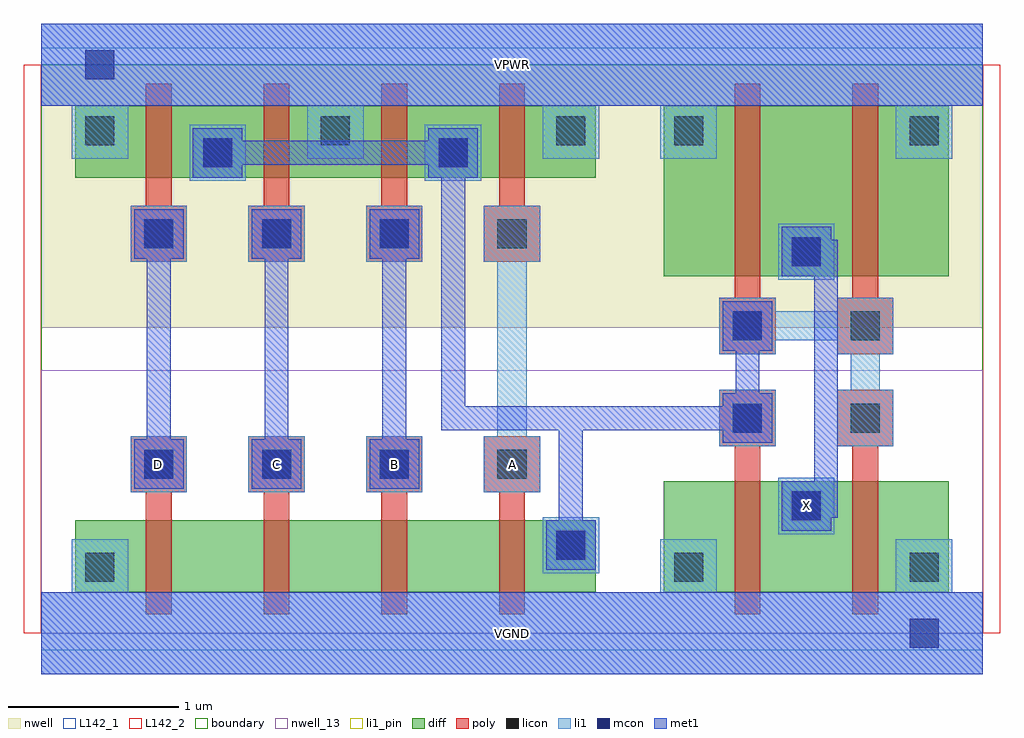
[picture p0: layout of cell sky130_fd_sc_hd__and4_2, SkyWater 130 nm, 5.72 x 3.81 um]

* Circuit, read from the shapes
.subckt sky130_fd_sc_hd__and4_2 A B C D VGND VPWR X
XM1 n1 D VGND VSUBS sky130_fd_pr__nfet_01v8 w=0.42 l=0.15
XM2 n2 C n1 VSUBS sky130_fd_pr__nfet_01v8 w=0.42 l=0.15
XM3 n3 B n2 VSUBS sky130_fd_pr__nfet_01v8 w=0.42 l=0.15
XM4 n4 A n3 VSUBS sky130_fd_pr__nfet_01v8 w=0.42 l=0.15
XM5 X n4 VGND VSUBS sky130_fd_pr__nfet_01v8 w=0.65 l=0.15 m=2
XM6 n4 D VPWR n5 sky130_fd_pr__pfet_01v8 w=0.42 l=0.15
XM7 VPWR C n4 n5 sky130_fd_pr__pfet_01v8 w=0.42 l=0.15
XM8 n4 B VPWR n5 sky130_fd_pr__pfet_01v8 w=0.42 l=0.15
XM9 VPWR A n4 n5 sky130_fd_pr__pfet_01v8 w=0.42 l=0.15
XM10 X n4 VPWR n5 sky130_fd_pr__pfet_01v8 w=1 l=0.15 m=2
.ends

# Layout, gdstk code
import gdstk
lib = gdstk.Library(unit=1e-6, precision=1e-09)
def R(c, l, rs):  # rectangles x0, y0, x1, y1
    for r in rs: c.add(gdstk.rectangle(r[:2], r[2:], *l))
def A(c, l, x, y, w, h, nx, ny, dx, dy):  # array of equal rectangles
    R(c, l, [(x+i*dx, y+j*dy, x+i*dx+w, y+j*dy+h) for i in range(nx) for j in range(ny)])
def P(c, l, *ps):  # polygons
    for p in ps: c.add(gdstk.Polygon(p, *l))
nwell_13 = (64, 13)
nwell = (64, 20)
diff = (65, 20)
poly = (66, 20)
licon = (66, 44)
li1_pin = (67, 16)
li1 = (67, 20)
mcon = (67, 44)
met1 = (68, 20)
L142_1 = (142, 1)
L142_2 = (142, 2)
boundary = (235, 4)

sky130_fd_sc_hd__and4_2 = lib.new_cell('sky130_fd_sc_hd__and4_2')
R(sky130_fd_sc_hd__and4_2, nwell_13, [(0,0,5.52,1.54)])
R(sky130_fd_sc_hd__and4_2, nwell, [(0,1.79,5.52,3.33)])
A(sky130_fd_sc_hd__and4_2, diff, 0.615, 0.24, 0.69, 0.42, 3, 2, 0.69, 2.43)
R(sky130_fd_sc_hd__and4_2, diff, [(0.2,0.24,3.25,0.66), (0.2,0.24,0.615,0.66), (2.685,0.24,3.25,0.66), (3.65,0.24,5.32,0.89), (3.65,0.24,4.065,0.89), (4.065,0.24,4.755,0.89), (4.755,0.24,5.32,0.89), (3.65,2.09,5.32,3.09), (3.65,2.09,4.065,3.09), (4.065,2.09,4.755,3.09), (4.755,2.09,5.32,3.09), (0.2,2.67,3.25,3.09), (0.2,2.67,0.615,3.09), (2.685,2.67,3.25,3.09)])
P(sky130_fd_sc_hd__and4_2, poly, [(1.995,0.11),(1.995,0.825),(1.905,0.825),(1.905,1.155),(2.235,1.155),(2.235,0.825),(2.145,0.825),(2.145,0.11)],
  [(1.905,2.175),(1.905,2.505),(1.995,2.505),(1.995,3.22),(2.145,3.22),(2.145,2.505),(2.235,2.505),(2.235,2.175)],
  [(4.065,0.11),(4.065,1.095),(3.975,1.095),(3.975,1.425),(4.305,1.425),(4.305,1.095),(4.215,1.095),(4.215,0.11)],
  [(4.755,0.11),(4.755,1.095),(4.665,1.095),(4.665,1.425),(4.995,1.425),(4.995,1.095),(4.905,1.095),(4.905,0.11)],
  [(3.975,1.635),(3.975,1.965),(4.065,1.965),(4.065,3.22),(4.215,3.22),(4.215,1.965),(4.305,1.965),(4.305,1.635)],
  [(4.665,1.635),(4.665,1.965),(4.755,1.965),(4.755,3.22),(4.905,3.22),(4.905,1.965),(4.995,1.965),(4.995,1.635)],
  [(0.615,0.11),(0.615,0.825),(0.525,0.825),(0.525,1.155),(0.855,1.155),(0.855,0.825),(0.765,0.825),(0.765,0.11)],
  [(0.525,2.175),(0.525,2.505),(0.615,2.505),(0.615,3.22),(0.765,3.22),(0.765,2.505),(0.855,2.505),(0.855,2.175)],
  [(1.305,0.11),(1.305,0.825),(1.215,0.825),(1.215,1.155),(1.545,1.155),(1.545,0.825),(1.455,0.825),(1.455,0.11)],
  [(1.215,2.175),(1.215,2.505),(1.305,2.505),(1.305,3.22),(1.455,3.22),(1.455,2.505),(1.545,2.505),(1.545,2.175)],
  [(2.685,0.11),(2.685,0.825),(2.595,0.825),(2.595,1.155),(2.925,1.155),(2.925,0.825),(2.835,0.825),(2.835,0.11)],
  [(2.595,2.175),(2.595,2.505),(2.685,2.505),(2.685,3.22),(2.835,3.22),(2.835,2.505),(2.925,2.505),(2.925,2.175)])
A(sky130_fd_sc_hd__and4_2, licon, 0.605, 0.905, 0.17, 0.17, 4, 2, 0.69, 1.35)
A(sky130_fd_sc_hd__and4_2, licon, 0.26, 2.86, 0.17, 0.17, 3, 1, 1.38, 0)
R(sky130_fd_sc_hd__and4_2, licon, [(0.26,0.3,0.43,0.47), (3.71,0.3,3.88,0.47), (5.09,0.3,5.26,0.47), (3.02,0.43,3.19,0.6), (4.4,0.66,4.57,0.83), (4.055,1.175,4.225,1.345), (4.745,1.175,4.915,1.345), (4.055,1.715,4.225,1.885), (4.745,1.715,4.915,1.885), (4.4,2.15,4.57,2.32), (0.95,2.73,1.12,2.9), (2.33,2.73,2.5,2.9), (3.71,2.86,3.88,3.03), (5.09,2.86,5.26,3.03)])
A(sky130_fd_sc_hd__and4_2, li1_pin, 0.525, 0.825, 0.33, 0.33, 3, 1, 0.69, 0)
R(sky130_fd_sc_hd__and4_2, li1_pin, [(0,-0.24,5.52,0.24), (4.32,0.58,4.65,0.91), (0,3.09,5.52,3.57)])
P(sky130_fd_sc_hd__and4_2, li1_pin, [(2.595,0.825),(2.595,1.155),(2.675,1.155),(2.675,2.175),(2.595,2.175),(2.595,2.505),(2.925,2.505),(2.925,2.175),(2.845,2.175),(2.845,1.155),(2.925,1.155),(2.925,0.825)])
A(sky130_fd_sc_hd__and4_2, li1, 0.525, 0.825, 0.33, 0.33, 3, 2, 0.69, 1.35)
R(sky130_fd_sc_hd__and4_2, li1, [(2.94,0.35,3.27,0.68), (4.32,0.58,4.65,0.91), (3.975,1.095,4.305,1.425), (4.32,2.07,4.65,2.4), (0.87,2.65,1.2,2.98), (2.25,2.65,2.58,2.98)])
P(sky130_fd_sc_hd__and4_2, li1, [(4.665,1.095),(4.665,1.425),(4.745,1.425),(4.745,1.635),(4.665,1.635),(4.665,1.715),(4.305,1.715),(4.305,1.635),(3.975,1.635),(3.975,1.965),(4.305,1.965),(4.305,1.885),(4.665,1.885),(4.665,1.965),(4.995,1.965),(4.995,1.635),(4.915,1.635),(4.915,1.425),(4.995,1.425),(4.995,1.095)],
  [(0.18,2.78),(0.18,3.09),(0,3.09),(0,3.57),(5.52,3.57),(5.52,3.09),(5.34,3.09),(5.34,2.78),(5.01,2.78),(5.01,3.09),(3.96,3.09),(3.96,2.78),(3.63,2.78),(3.63,3.09),(3.27,3.09),(3.27,2.78),(2.94,2.78),(2.94,3.09),(1.89,3.09),(1.89,2.78),(1.56,2.78),(1.56,3.09),(0.51,3.09),(0.51,2.78)],
  [(0,-0.24),(0,0.24),(0.18,0.24),(0.18,0.55),(0.51,0.55),(0.51,0.24),(3.63,0.24),(3.63,0.55),(3.96,0.55),(3.96,0.24),(5.01,0.24),(5.01,0.55),(5.34,0.55),(5.34,0.24),(5.52,0.24),(5.52,-0.24)],
  [(2.595,0.825),(2.595,1.155),(2.675,1.155),(2.675,2.175),(2.595,2.175),(2.595,2.505),(2.925,2.505),(2.925,2.175),(2.845,2.175),(2.845,1.155),(2.925,1.155),(2.925,0.825)])
A(sky130_fd_sc_hd__and4_2, mcon, 0.605, 0.905, 0.17, 0.17, 3, 2, 0.69, 1.35)
R(sky130_fd_sc_hd__and4_2, mcon, [(5.09,-0.085,5.26,0.085), (3.02,0.43,3.19,0.6), (4.4,0.66,4.57,0.83), (4.055,1.175,4.225,1.345), (4.055,1.715,4.225,1.885), (4.4,2.15,4.57,2.32), (0.95,2.73,1.12,2.9), (2.33,2.73,2.5,2.9), (0.26,3.245,0.43,3.415)])
R(sky130_fd_sc_hd__and4_2, met1, [(0,-0.24,5.52,0.24), (0,3.09,5.52,3.57)])
P(sky130_fd_sc_hd__and4_2, met1, [(1.925,0.845),(1.925,1.135),(2,1.135),(2,2.195),(1.925,2.195),(1.925,2.485),(2.215,2.485),(2.215,2.195),(2.14,2.195),(2.14,1.135),(2.215,1.135),(2.215,0.845)],
  [(2.96,0.37),(2.96,0.66),(3.035,0.66),(3.035,1.19),(2.345,1.19),(2.345,2.67),(2.27,2.67),(2.27,2.745),(1.18,2.745),(1.18,2.67),(0.89,2.67),(0.89,2.96),(1.18,2.96),(1.18,2.885),(2.27,2.885),(2.27,2.96),(2.56,2.96),(2.56,2.67),(2.485,2.67),(2.485,1.33),(3.995,1.33),(3.995,1.405),(4.07,1.405),(4.07,1.655),(3.995,1.655),(3.995,1.945),(4.285,1.945),(4.285,1.655),(4.21,1.655),(4.21,1.405),(4.285,1.405),(4.285,1.115),(3.995,1.115),(3.995,1.19),(3.175,1.19),(3.175,0.66),(3.25,0.66),(3.25,0.37)],
  [(0.545,0.845),(0.545,1.135),(0.62,1.135),(0.62,2.195),(0.545,2.195),(0.545,2.485),(0.835,2.485),(0.835,2.195),(0.76,2.195),(0.76,1.135),(0.835,1.135),(0.835,0.845)],
  [(1.235,0.845),(1.235,1.135),(1.31,1.135),(1.31,2.195),(1.235,2.195),(1.235,2.485),(1.525,2.485),(1.525,2.195),(1.45,2.195),(1.45,1.135),(1.525,1.135),(1.525,0.845)],
  [(4.34,0.6),(4.34,0.89),(4.53,0.89),(4.53,2.09),(4.34,2.09),(4.34,2.38),(4.63,2.38),(4.63,2.305),(4.67,2.305),(4.67,0.675),(4.63,0.675),(4.63,0.6)])
R(sky130_fd_sc_hd__and4_2, L142_1, [(0,-0.1,5.52,0), (0,3.33,5.52,3.43)])
R(sky130_fd_sc_hd__and4_2, L142_2, [(-0.1,0,0,3.33), (5.52,0,5.62,3.33)])
R(sky130_fd_sc_hd__and4_2, boundary, [(0,0,5.52,3.33)])
sky130_fd_sc_hd__and4_2.add(gdstk.Label('X', (4.485,0.745), layer=67, texttype=5))
sky130_fd_sc_hd__and4_2.add(gdstk.Label('D', (0.69,0.99), layer=67, texttype=5))
sky130_fd_sc_hd__and4_2.add(gdstk.Label('A', (2.76,0.99), layer=67, texttype=5))
sky130_fd_sc_hd__and4_2.add(gdstk.Label('B', (2.07,0.99), layer=67, texttype=5))
sky130_fd_sc_hd__and4_2.add(gdstk.Label('C', (1.38,0.99), layer=67, texttype=5))
sky130_fd_sc_hd__and4_2.add(gdstk.Label('VGND', (2.76,0), layer=67, texttype=5))
sky130_fd_sc_hd__and4_2.add(gdstk.Label('VPWR', (2.76,3.33), layer=67, texttype=5))
sky130_fd_sc_hd__and4_2.add(gdstk.Label('VGND', (2.76,0), layer=68, texttype=5))
sky130_fd_sc_hd__and4_2.add(gdstk.Label('VPWR', (2.76,3.33), layer=68, texttype=5))

lib.write_gds('sky130_fd_sc_hd__and4_2.gds')
